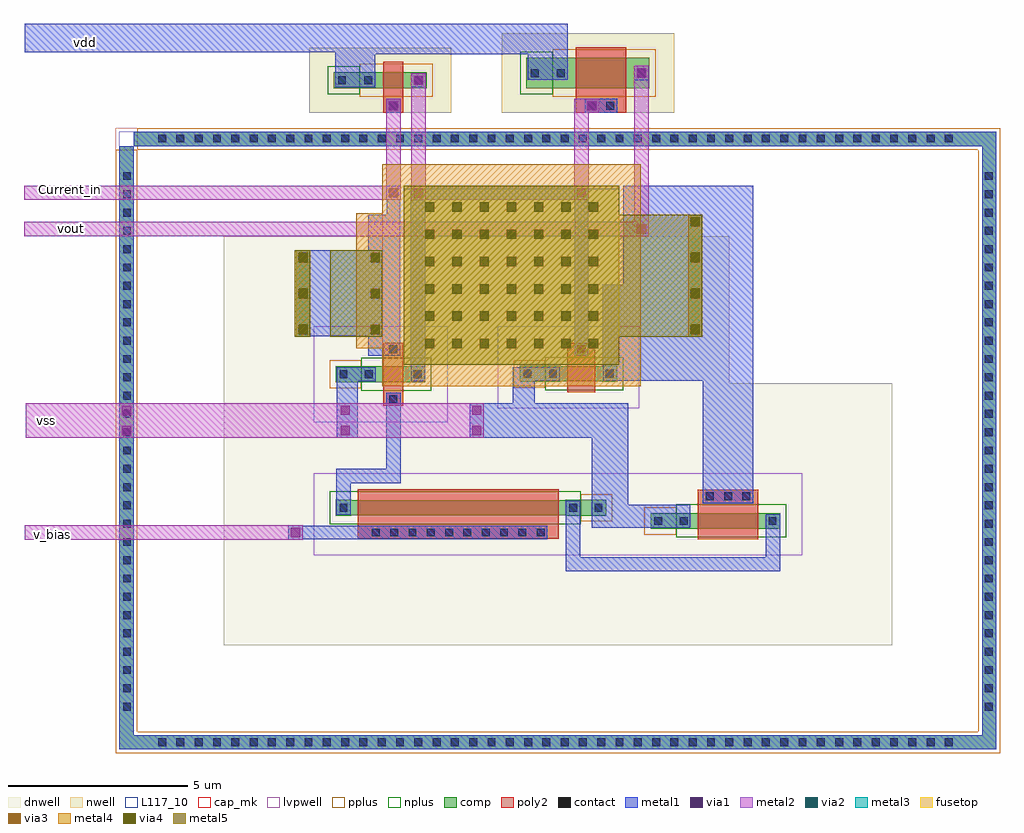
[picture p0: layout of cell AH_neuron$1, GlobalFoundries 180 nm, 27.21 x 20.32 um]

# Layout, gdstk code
from math import pi, radians
import gdstk
lib = gdstk.Library(unit=1e-6, precision=5e-09)
def R(c, l, rs):  # rectangles x0, y0, x1, y1
    for r in rs: c.add(gdstk.rectangle(r[:2], r[2:], *l))
def A(c, l, x, y, w, h, nx, ny, dx, dy):  # array of equal rectangles
    R(c, l, [(x+i*dx, y+j*dy, x+i*dx+w, y+j*dy+h) for i in range(nx) for j in range(ny)])
def P(c, l, *ps):  # polygons
    for p in ps: c.add(gdstk.Polygon(p, *l))
dnwell = (12, 0)
nwell = (21, 0)
comp = (22, 0)
poly2 = (30, 0)
pplus = (31, 0)
nplus = (32, 0)
contact = (33, 0)
metal1 = (34, 0)
via1 = (35, 0)
metal2 = (36, 0)
via2 = (38, 0)
via3 = (40, 0)
via4 = (41, 0)
metal3 = (42, 0)
metal4 = (46, 0)
fusetop = (75, 0)
metal5 = (81, 0)
cap_mk = (117, 5)
L117_10 = (117, 10)
lvpwell = (204, 0)

cap_mim_3 = lib.new_cell('cap_mim$3')
A(cap_mim_3, via4, 0.59, 0.47, 0.26, 0.26, 7, 6, 0.76, 0.76)
R(cap_mim_3, metal4, [(-0.6,-0.6,6.6,5.6)])
R(cap_mim_3, fusetop, [(0,0,6,5)])
R(cap_mim_3, metal5, [(0,0,6,5)])
R(cap_mim_3, cap_mk, [(-0.6,-0.6,6.6,5.6)])
R(cap_mim_3, L117_10, [(0,0,6,0.1)])

pfet_16 = lib.new_cell('pfet$16')
R(pfet_16, nwell, [(-1.15,-0.69,2.82,1.13)])
R(pfet_16, comp, [(-0.46,0,0,0.44), (0,0,0.94,0.44), (0.94,0,1.4,0.44), (1.4,0,2.13,0.44)])
R(pfet_16, poly2, [(0.19,-0.3,0.75,0.74), (0.19,0.74,0.75,1.12)])
R(pfet_16, pplus, [(-0.63,-0.24,1.4,0.68)])
R(pfet_16, nplus, [(1.4,-0.17,2.3,0.61)])
R(pfet_16, contact, [(-0.34,0.11,-0.12,0.33), (1.06,0.11,1.28,0.33), (1.79,0.11,2.01,0.33), (0.36,0.82,0.58,1.04)])
R(pfet_16, metal1, [(-0.42,0.03,-0.04,0.41), (0.98,0.03,1.36,0.41), (1.71,0.03,2.09,0.41), (0.28,0.74,0.66,1.12)])

pfet_1_2 = lib.new_cell('pfet$1$2')
R(pfet_1_2, nwell, [(-1.15,-0.69,3.66,1.53)])
R(pfet_1_2, comp, [(-0.46,0,0,0.84), (0,0,1.78,0.84), (1.78,0,2.24,0.84), (2.24,0,2.97,0.84)])
R(pfet_1_2, poly2, [(0.19,-0.3,1.59,1.14), (0.19,1.14,1.59,1.52)])
R(pfet_1_2, pplus, [(-0.63,-0.24,2.24,1.08)])
R(pfet_1_2, nplus, [(2.24,-0.17,3.14,1.01)])
R(pfet_1_2, contact, [(-0.34,0.31,-0.12,0.53), (1.9,0.31,2.12,0.53), (2.63,0.31,2.85,0.53), (0.525,1.22,0.745,1.44), (1.035,1.22,1.255,1.44)])
R(pfet_1_2, metal1, [(-0.42,0.23,-0.04,0.61), (1.82,0.23,2.2,0.61), (2.55,0.23,2.93,0.61), (0.445,1.14,1.335,1.52)])

nfet_30 = lib.new_cell('nfet$30')
R(nfet_30, dnwell, [(-3.55,-3.63,5.2,4.07)])
R(nfet_30, comp, [(-0.42,0,0,0.44), (0,0,0.94,0.44), (0.94,0,1.36,0.44), (1.36,0,2.07,0.44)])
R(nfet_30, poly2, [(0.19,-0.66,0.75,-0.3), (0.19,-0.3,0.75,0.74), (0.19,0.74,0.75,1.1)])
R(nfet_30, pplus, [(1.36,-0.17,2.24,0.61)])
R(nfet_30, nplus, [(-0.59,-0.24,1.36,0.68)])
R(nfet_30, contact, [(0.36,-0.59,0.58,-0.37), (-0.32,0.11,-0.1,0.33), (1.04,0.11,1.26,0.33), (1.75,0.11,1.97,0.33), (0.36,0.81,0.58,1.03)])
R(nfet_30, metal1, [(0.28,-0.67,0.66,-0.29), (-0.4,0.03,-0.02,0.41), (0.96,0.03,1.34,0.41), (1.67,0.03,2.05,0.41), (0.28,0.73,0.66,1.11)])
R(nfet_30, lvpwell, [(-1.04,-1.12,2.69,1.56)])

via_dev_70 = lib.new_cell('via_dev$70')
R(via_dev_70, metal1, [(0,0,0.4,0.4)])
R(via_dev_70, via1, [(0.07,0.07,0.33,0.33)])
R(via_dev_70, metal2, [(0,0,0.4,0.4)])

nfet_1_2 = lib.new_cell('nfet$1$2')
R(nfet_1_2, dnwell, [(-3.55,-3.63,6.32,3.68)])
R(nfet_1_2, comp, [(-0.42,-0.01,0,0.43), (2.06,-0.01,2.48,0.43), (2.48,-0.01,3.19,0.43), (0,0,2.06,0.42)])
R(nfet_1_2, poly2, [(0.19,-0.66,1.87,-0.3), (0.19,-0.3,1.87,0.72)])
R(nfet_1_2, pplus, [(2.48,-0.17,3.36,0.59)])
R(nfet_1_2, nplus, [(-0.59,-0.25,2.48,0.67)])
A(nfet_1_2, contact, 0.41, -0.59, 0.22, 0.22, 3, 1, 0.51, 0)
R(nfet_1_2, contact, [(-0.32,0.1,-0.1,0.32), (2.16,0.1,2.38,0.32), (2.87,0.1,3.09,0.32)])
R(nfet_1_2, metal1, [(0.33,-0.67,1.73,-0.29), (-0.4,0.02,-0.02,0.4), (2.08,0.02,2.46,0.4), (2.79,0.02,3.17,0.4)])
R(nfet_1_2, lvpwell, [(-1.04,-1.12,3.81,1.17)])

nfet_2_2 = lib.new_cell('nfet$2$2')
R(nfet_2_2, dnwell, [(-3.55,-3.63,5.42,3.68)])
R(nfet_2_2, comp, [(-0.42,-0.01,0,0.43), (1.16,-0.01,1.58,0.43), (1.58,-0.01,2.29,0.43), (0,0,1.16,0.42)])
R(nfet_2_2, poly2, [(0.19,-0.66,0.97,-0.3), (0.19,-0.3,0.97,0.72)])
R(nfet_2_2, pplus, [(1.58,-0.17,2.46,0.59)])
R(nfet_2_2, nplus, [(-0.59,-0.25,1.58,0.67)])
R(nfet_2_2, contact, [(0.47,-0.59,0.69,-0.37), (-0.32,0.1,-0.1,0.32), (1.26,0.1,1.48,0.32), (1.97,0.1,2.19,0.32)])
R(nfet_2_2, metal1, [(0.39,-0.67,0.77,-0.29), (-0.4,0.02,-0.02,0.4), (1.18,0.02,1.56,0.4), (1.89,0.02,2.27,0.4)])
R(nfet_2_2, lvpwell, [(-1.04,-1.12,2.91,1.17)])

nfet_3_3 = lib.new_cell('nfet$3$3')
R(nfet_3_3, dnwell, [(-3.55,-3.63,10.24,3.68)])
R(nfet_3_3, comp, [(-0.42,-0.01,0,0.43), (5.98,-0.01,6.4,0.43), (6.4,-0.01,7.11,0.43), (0,0,5.98,0.42)])
R(nfet_3_3, poly2, [(0.19,-0.66,5.79,-0.3), (0.19,-0.3,5.79,0.72)])
R(nfet_3_3, pplus, [(6.4,-0.17,7.28,0.59)])
R(nfet_3_3, nplus, [(-0.59,-0.25,6.4,0.67)])
A(nfet_3_3, contact, 0.585, -0.59, 0.22, 0.22, 10, 1, 0.51, 0)
R(nfet_3_3, contact, [(-0.32,0.1,-0.1,0.32), (6.08,0.1,6.3,0.32), (6.79,0.1,7.01,0.32)])
R(nfet_3_3, metal1, [(0.505,-0.67,5.475,-0.29), (-0.4,0.02,-0.02,0.4), (6,0.02,6.38,0.4), (6.71,0.02,7.09,0.4)])
R(nfet_3_3, lvpwell, [(-1.04,-1.12,7.73,1.17)])

via_dev_1_2 = lib.new_cell('via_dev$1$2')
R(via_dev_1_2, metal1, [(0,0,0.4,0.4)])
R(via_dev_1_2, via1, [(0.07,0.07,0.33,0.33)])
R(via_dev_1_2, metal2, [(0,0,0.4,0.4)])
R(via_dev_1_2, via2, [(0.07,0.07,0.33,0.33)])
R(via_dev_1_2, via3, [(0.07,0.07,0.33,0.33)])
R(via_dev_1_2, via4, [(0.07,0.07,0.33,0.33)])
R(via_dev_1_2, metal3, [(0,0,0.4,0.4)])
R(via_dev_1_2, metal4, [(0,0,0.4,0.4)])
R(via_dev_1_2, metal5, [(0,0,0.4,0.4)])

via_dev_2_2 = lib.new_cell('via_dev$2$2')
R(via_dev_2_2, via4, [(0.07,0.07,0.33,0.33)])
R(via_dev_2_2, metal4, [(0,0,0.4,0.4)])
R(via_dev_2_2, metal5, [(0,0,0.4,0.4)])

ah_neuron_1 = lib.new_cell('AH_neuron$1')
P(ah_neuron_1, comp, [(-10.77,-5.815),(-10.77,11.4),(-10.37,11.4),(-10.37,-5.415),(13.275,-5.415),(13.275,11),(-10.77,11),(-10.77,11.4),(13.675,11.4),(13.675,-5.815)])
P(ah_neuron_1, pplus, [(-10.87,-5.915),(-10.87,11.5),(-10.27,11.5),(-10.27,-5.315),(13.175,-5.315),(13.175,10.9),(-10.87,10.9),(-10.87,11.5),(13.775,11.5),(13.775,-5.915)])
A(ah_neuron_1, contact, -9.69, -5.725, 0.22, 0.22, 44, 2, 0.51, 16.83)
A(ah_neuron_1, contact, -10.67, -4.73, 0.22, 0.22, 1, 30, 0, 0.51)
A(ah_neuron_1, contact, 13.355, -4.73, 0.22, 0.22, 1, 30, 0, 0.51)
R(ah_neuron_1, metal1, [(-6.065,0.045,1.16,0.425), (-5.845,5.7,-3.565,8.095)])
P(ah_neuron_1, metal1, [(-4.755,12.65),(-4.755,13.615),(-13.41,13.615),(-13.41,14.41),(1.725,14.41),(1.725,12.85),(0.615,12.85),(0.615,13.56),(-3.645,13.56),(-3.645,12.65)],
  [(-3.84,5.155),(-3.84,9.095),(-3.325,9.095),(-3.325,9.905),(-2.945,9.905),(-2.945,5.155)],
  [(2.395,0.365),(2.395,2.88),(-1.01,2.88),(-1.01,3.84),(0.19,3.84),(0.19,4.845),(1.505,4.845),(1.505,4.465),(0.805,4.465),(0.805,3.84),(3.415,3.84),(3.415,1.005),(5.145,1.005),(5.145,0.365)],
  [(1.675,-0.85),(1.675,1.115),(2.075,1.115),(2.075,-0.45),(7.245,-0.45),(7.245,0.745),(7.645,0.745),(7.645,-0.85)],
  [(5.495,1.055),(5.495,4.465),(2.705,4.465),(2.705,7.135),(3.28,7.135),(3.28,9.905),(6.895,9.905),(6.895,1.055)],
  [(-10.77,-5.815),(-10.77,11.4),(-10.37,11.4),(-10.37,-5.415),(13.275,-5.415),(13.275,11),(-10.77,11),(-10.77,11.4),(13.675,11.4),(13.675,-5.815)],
  [(-4.725,0.735),(-4.725,2.005),(-3.33,2.005),(-3.33,4.135),(-2.93,4.135),(-2.93,1.605),(-4.325,1.605),(-4.325,0.735)],
  [(-2.645,4.455),(-2.645,9.9),(1.915,9.9),(1.915,9.905),(2.295,9.905),(2.295,5.535),(1.915,5.535),(1.915,9.505),(-2.245,9.505),(-2.245,4.455)],
  [(-4.715,2.88),(-4.715,4.835),(-3.625,4.835),(-3.625,4.455),(-4.13,4.455),(-4.13,2.88)])
R(ah_neuron_1, metal2, [(-5.845,5.695,-5.445,8.095), (5.08,5.695,5.48,9.095), (-2.635,9.5,-2.235,13.04)])
P(ah_neuron_1, metal2, [(-13.38,2.88),(-13.38,3.835),(-4.715,3.835),(-4.715,3.84),(-0.61,3.84),(-0.61,2.88)],
  [(-13.41,0.035),(-13.41,0.435),(-5.82,0.435),(-5.82,0.2),(-6.065,0.2),(-6.065,0.035)],
  [(-13.43,9.505),(-13.43,9.905),(-3.335,9.905),(-3.335,11.93),(-2.935,11.93),(-2.935,9.505)],
  [(-13.43,8.495),(-13.43,8.895),(3.58,8.895),(3.58,12.84),(3.98,12.84),(3.98,8.495)],
  [(1.905,9.505),(1.905,12.33),(2.6,12.33),(2.6,11.93),(2.305,11.93),(2.305,9.505)])
R(ah_neuron_1, metal3, [(-5.845,5.695,-5.445,8.09), (5.08,5.695,5.48,9.095)])
R(ah_neuron_1, metal4, [(-5.845,5.695,-5.445,8.095), (5.08,5.695,5.48,9.095)])
P(ah_neuron_1, metal4, [(-4.17,5.365),(-4.17,9.135),(-3.44,9.135),(-3.44,9.095),(-2.985,9.095),(-2.985,5.695),(-3.44,5.695),(-3.44,5.365)])
R(ah_neuron_1, metal5, [(-5.885,5.695,-5.445,8.095), (-4.9,5.695,-3.44,8.095), (3.08,5.695,5.48,9.095)])
ah_neuron_1.add(gdstk.Reference(cap_mim_3, (3.16,9.905), rotation=pi))
ah_neuron_1.add(gdstk.Reference(pfet_16, (-2.665,13.06), rotation=pi))
ah_neuron_1.add(gdstk.Reference(pfet_1_2, (3.545,13.46), rotation=pi))
ah_neuron_1.add(gdstk.Reference(nfet_30, (-2.665,4.865), rotation=pi))
r = gdstk.Reference(via_dev_70, (-3.335,11.93)); r.repetition = gdstk.Repetition(1, 1, v1=(0,0), v2=(0,0)); ah_neuron_1.add(r)
r = gdstk.Reference(via_dev_70, (-3.335,9.505)); r.repetition = gdstk.Repetition(1, 1, v1=(0,0), v2=(0,0)); ah_neuron_1.add(r)
r = gdstk.Reference(via_dev_70, (-2.635,9.5)); r.repetition = gdstk.Repetition(1, 1, v1=(0,0), v2=(0,0)); ah_neuron_1.add(r)
r = gdstk.Reference(via_dev_70, (-2.635,12.64)); r.repetition = gdstk.Repetition(1, 1, v1=(0,0), v2=(0,0)); ah_neuron_1.add(r)
r = gdstk.Reference(via_dev_70, (3.58,12.84)); r.repetition = gdstk.Repetition(1, 1, v1=(0,0), v2=(0,0)); ah_neuron_1.add(r)
ah_neuron_1.add(gdstk.Reference(nfet_1_2, (7.225,0.765), rotation=pi))
ah_neuron_1.add(gdstk.Reference(nfet_2_2, (2.685,4.865), rotation=pi))
r = gdstk.Reference(via_dev_70, (2.2,11.93)); r.repetition = gdstk.Repetition(1, 1, v1=(0,0), v2=(0,0)); ah_neuron_1.add(r)
r = gdstk.Reference(via_dev_70, (1.905,9.505)); r.repetition = gdstk.Repetition(1, 1, v1=(0,0), v2=(0,0)); ah_neuron_1.add(r)
r = gdstk.Reference(via_dev_70, (3.58,8.495)); r.repetition = gdstk.Repetition(1, 1, v1=(0,0), v2=(0,0)); ah_neuron_1.add(r)
r = gdstk.Reference(via_dev_70, (-6.065,0.035)); r.repetition = gdstk.Repetition(1, 1, v1=(0,0), v2=(0,0)); ah_neuron_1.add(r)
ah_neuron_1.add(gdstk.Reference(nfet_3_3, (-4.315,0.715)))
r = gdstk.Reference(via_dev_70, (-1.01,3.84), rotation=3*pi/2); r.repetition = gdstk.Repetition(2, 1, v1=(0,-0.56), v2=(0,0)); ah_neuron_1.add(r)
r = gdstk.Reference(via_dev_1_2, (5.08,5.695)); r.repetition = gdstk.Repetition(1, 4, v1=(0,0), v2=(0,1)); ah_neuron_1.add(r)
r = gdstk.Reference(via_dev_70, (-4.675,3.84), rotation=3*pi/2); r.repetition = gdstk.Repetition(2, 1, v1=(0,-0.56), v2=(0,0)); ah_neuron_1.add(r)
r = gdstk.Reference(via_dev_70, (-10.77,3.835), rotation=3*pi/2); r.repetition = gdstk.Repetition(2, 1, v1=(0,-0.56), v2=(0,0)); ah_neuron_1.add(r)
r = gdstk.Reference(via_dev_2_2, (-3.84,5.695)); r.repetition = gdstk.Repetition(1, 3, v1=(0,0), v2=(0,1)); ah_neuron_1.add(r)
r = gdstk.Reference(via_dev_1_2, (-5.845,5.695)); r.repetition = gdstk.Repetition(1, 3, v1=(0,0), v2=(0,1)); ah_neuron_1.add(r)
ah_neuron_1.add(gdstk.Label('vdd', (-11.725,13.905), layer=34, texttype=10))
ah_neuron_1.add(gdstk.Label('Current_in', (-12.12,9.785), layer=36, texttype=10))
ah_neuron_1.add(gdstk.Label('v_bias', (-12.625,0.19), layer=36, texttype=10))
ah_neuron_1.add(gdstk.Label('vss', (-12.805,3.345), layer=36, texttype=10))
ah_neuron_1.add(gdstk.Label('vout', (-12.1,8.7), layer=36, texttype=10))

lib.write_gds('AH_neuron_1.gds')
